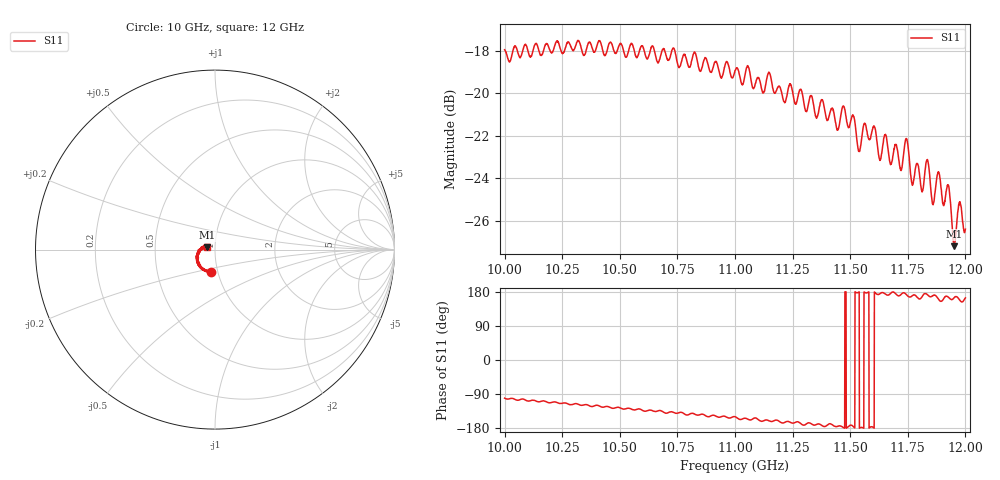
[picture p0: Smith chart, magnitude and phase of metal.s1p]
[Version] 2.0
! Rohde & Schwarz Vector Network Analyzer
! Rohde-Schwarz,ZNL20-2Port,1323001220200009,1.71.1.10-23.02.1.238
! Port Assignments:
! Nominal Port -> Actual Test Port
!  1 -> 1
! Created: GMT 2024-09-04 10:17:55
# Hz S DB R 50
[Number of Ports] 1
! freq[Hz]  S11[mag dB]  S11[ang]
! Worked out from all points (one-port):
!   2001 points, 10 GHz to 12 GHz, reference 50 ohm
!   lowest |S11| = -27.2 dB at 11.95 GHz (marker M1), VSWR 1.09, Z = 46 + j1.13 ohm
!   |S11| at or under -10 dB: start of sweep to end of sweep
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[Number of Frequencies] 28
[Network Data]
1e10  -17.96 -100.7
1.025e10  -18.12 -114.2
1.05e10  -17.69 -125.7
1.075e10  -18.59 -140.5
1.1e10  -18.94 -149.5
1.125e10  -19.93 -166.5
1.15e10  -21.43 -172.0
1.1515e10  -21.10 -176.5
1.1539e10  -22.71 179.8
1.1563e10  -21.41 178.6
1.1605e10  -21.56 179.5
1.1629e10  -23.16 174.9
1.1652e10  -21.96 174.4
1.1674e10  -23.32 175.1
1.1698e10  -22.43 174.3
1.1719e10  -23.62 172.0
1.175e10  -22.39 169.0
1.177e10  -24.33 169.9
1.1791e10  -23.30 165.2
1.1813e10  -24.62 168.1
1.1834e10  -23.17 172.8
1.1859e10  -25.24 169.8
1.1882e10  -23.70 161.2
1.1905e10  -25.27 161.7
1.1925e10  -24.30 166.3
1.195e10  -27.19 163.6
1.1975e10  -25.15 158.2
1.2e10  -26.39 163.8
[End]
